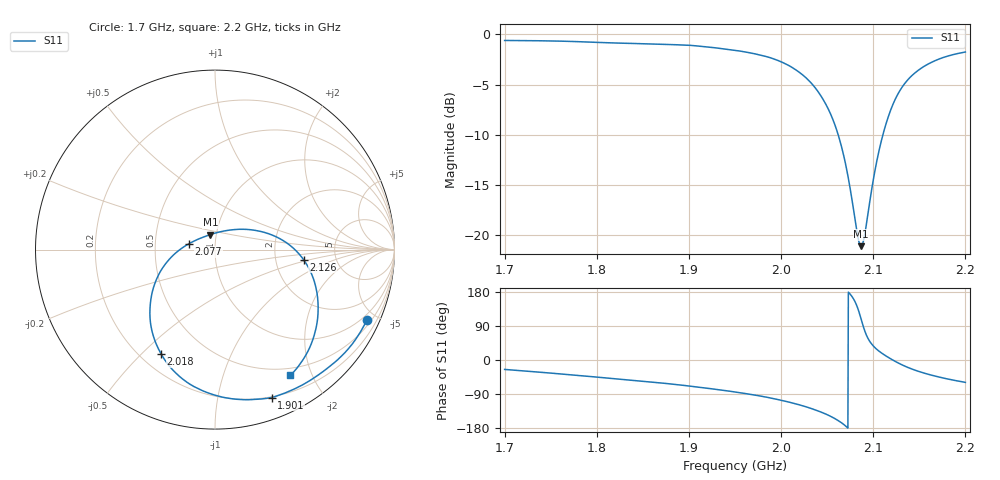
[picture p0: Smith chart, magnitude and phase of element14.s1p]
# Hz S RI R 50
! CMT, CMT808U, 21440046, 21.4.3/4
! Date: 12/1/2025 1:53:05 PM
! Data: Format (Calibration Info)
! Freq	S11:Re/Im(F2)
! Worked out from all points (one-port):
!   1001 points, 1.7 GHz to 2.2 GHz, reference 50 ohm
!   lowest |S11| = -21.1 dB at 2.087 GHz (marker M1), VSWR 1.19, Z = 46.9 + j7.93 ohm
!   |S11| at or under -10 dB: 2.062 GHz to 2.111 GHz (48.68 MHz wide, 2.33 % of centre)
!   S11 on the Smith chart (normalised r, x): 1.7 GHz: 0.73, -4.42; 1.901 GHz: 0.19, -1.44; 2.018 GHz: 0.28, -0.57; 2.077 GHz: 0.74, +0.05; 2.126 GHz: 2.90, -0.43; 2.2 GHz: 0.40, -1.69
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1.7e9  0.8468 -0.3922
1.7625e9  0.7377 -0.5589
1.825e9  0.5768 -0.6975
1.8875e9  0.3742 -0.8051
1.9015e9  0.3149 -0.824
1.95e9  0.082 -0.8293
1.985e9  -0.1144 -0.7646
1.9995e9  -0.2008 -0.7038
2.0125e9  -0.2725 -0.625
2.0185e9  -0.3009 -0.58
2.0375e9  -0.3605 -0.3994
2.0535e9  -0.3427 -0.2114
2.065e9  -0.2717 -0.0742
2.07e9  -0.2239 -0.0231
2.075e9  -0.1686 0.0188
2.077e9  -0.1452 0.0328
2.0835e9  -0.0676 0.0687
2.087e9  -0.0253 0.0839
2.0905e9  0.0189 0.0968
2.1005e9  0.1563 0.1133
2.108e9  0.2667 0.0981
2.1165e9  0.3876 0.0453
2.126e9  0.4933 -0.0557
2.1375e9  0.5593 -0.1989
2.1515e9  0.5739 -0.3562
2.168e9  0.5434 -0.5062
2.184e9  0.4872 -0.6181
2.2e9  0.4205 -0.7008
